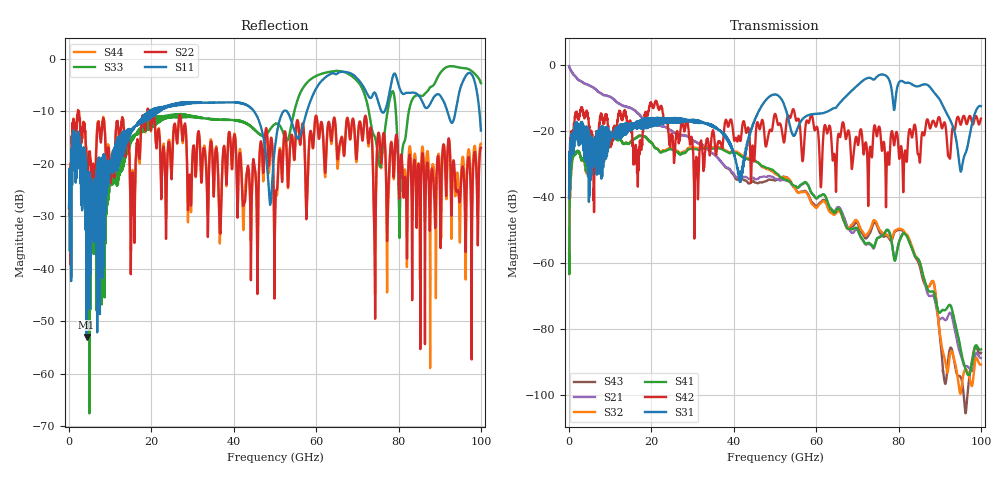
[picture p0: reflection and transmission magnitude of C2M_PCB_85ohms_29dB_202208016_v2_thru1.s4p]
! Info: Touchstone file created by Circ.  Input file=Intel_C2M_200G_13p0in_202208016_staggered.circ
# Hz S RI R 50
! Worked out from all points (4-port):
!   10000 points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, 10 MHz to 100 GHz, reference 50 ohm
!   strongest paths, dB at 10 MHz, 25.01 GHz, 50.01 GHz, 75.01 GHz, 100 GHz:
!     S31: -40.3, -16.4, -8.9, -3.3, -12.5
!     S42: -40.3, -22.0, -14.8, -19.8, -16.3
!     S41: -57.3, -25.7, -32.5, -52.4, -86.2
!     S32: -57.3, -25.3, -33.0, -48.9, -90.8
!     S21: -0.3, -20.0, -34.4, -52.4, -88.8
!     S43: -0.3, -20.0, -35.0, -49.5, -87.3
!   lowest |S11| = -53.0 dB at 4.26 GHz (marker M1), VSWR 1.00, Z = 50.2 - j0.0491 ohm
!   |S11| at or under -10 dB: start of sweep to 19.46 GHz; 44.93 GHz to 52.1 GHz (7.165 GHz wide, 14.8 % of centre); 52.89 GHz to 57.77 GHz (4.875 GHz wide, 8.81 % of centre)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
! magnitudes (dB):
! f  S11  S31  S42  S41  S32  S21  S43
! 10 MHz  -28.3  -40.3  -40.3  -57.3  -57.3  -0.3  -0.3
! 4.26 GHz  -53.0  -18.6  -13.8  -32.4  -32.9  -5.8  -5.8
! 40.82 GHz  -8.3  -31.4  -23.1  -26.8  -26.3  -34.0  -34.7
! 49.51 GHz  -21.0  -9.0  -17.9  -31.9  -32.4  -33.9  -34.8
! 86.84 GHz  -9.4  -5.9  -16.8  -67.3  -67.0  -68.5  -67.0
! 95.18 GHz  -5.2  -32.2  -18.0  -86.7  -98.9  -88.2  -94.8
! 100 GHz  -13.7  -12.5  -16.3  -86.2  -90.8  -88.8  -87.3
